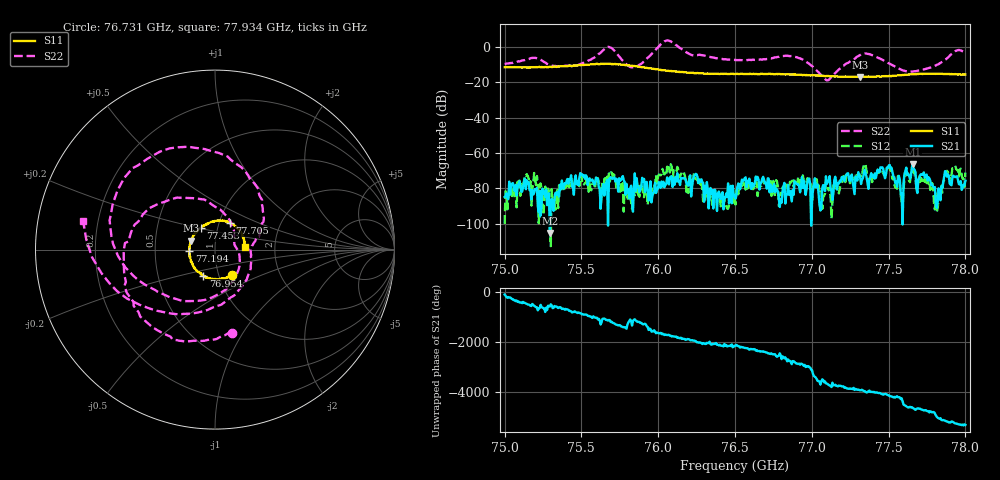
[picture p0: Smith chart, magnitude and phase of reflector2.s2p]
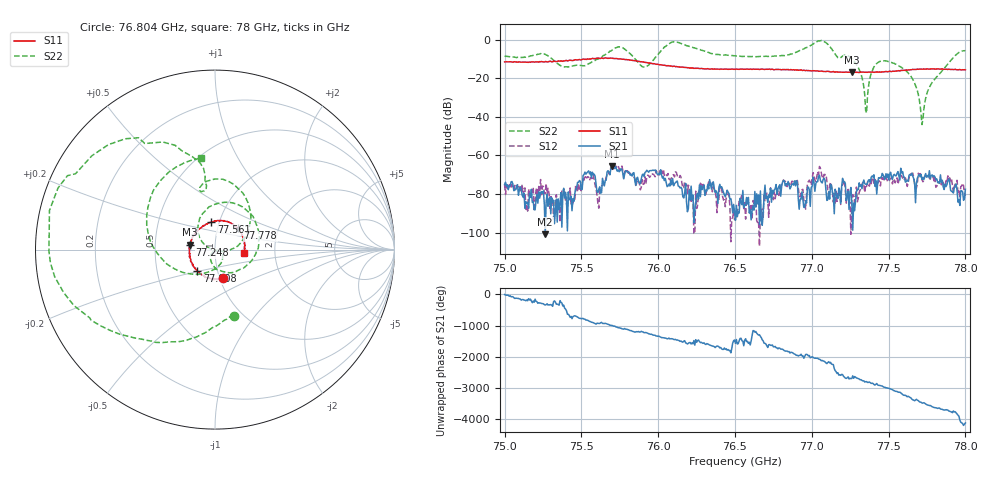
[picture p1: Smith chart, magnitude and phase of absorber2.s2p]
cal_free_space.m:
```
%%% TRM CALIBRTION USING 7 ERRORS TERMS %%%

%% clearvars %% 
clear all
close all

%% S-Parameters for measured calibration stems %%


 S_meas_refl = sparameters('reflector2.s2p');                             
 s11_meas_refl = rfparam(S_meas_refl,2,2);


 f=S_meas_refl.Frequencies;
 N=length(f);
  
 
 %% correct S data
S_dut = sparameters('absorber2.s2p');
S11_dut_meas = rfparam(S_dut,2,2); %S21_dut_meas = rfparam(S_dut,2,1)
S11_real=abs(S11_dut_meas)./abs(s11_meas_refl);


fghz=f./1e9;
 figure(1)
 plot(fghz,S11_real);%,fghz,20*log10(abs(S12_dut_true)))
 ylim([-1 1])
```
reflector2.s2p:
# Hz S MA R 50
! CMT, C4420, 21421029, 25.1.2/3
! Date: 8/4/2025 5:30:59 PM
! Data: Format (Calibration Info)
! Freq	S33:Mag/Ang(F2)	S43:Mag/Ang(F2)	S34:Mag/Ang(F2)	S44:Mag/Ang(F2)
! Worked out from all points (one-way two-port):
!   500 points, 75 GHz to 78 GHz, reference 50 ohm
!   highest |S21| = -66.24 dB at 77.657 GHz (marker M1); lowest = -105.2 dB at 75.295 GHz (marker M2)
!   lowest |S11| = -17.1 dB at 77.315 GHz (marker M3), VSWR 1.33, Z = 38.2 + j3.82 ohm
!   |S11| at or under -10 dB: start of sweep to 75.557 GHz; 75.73774 GHz to 75.74586 GHz (8.117 MHz wide, 0.0107 % of centre); 75.755 GHz to end of sweep
!   |S22| runs from -19.0 to 3.6 dB; largest |S21 - S12| = 0.00031
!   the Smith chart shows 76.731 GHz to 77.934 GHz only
!   S11 on the Smith chart (normalised r, x): 76.731 GHz: 1.15, -0.34; 76.954 GHz: 0.84, -0.25; 77.194 GHz: 0.75, -0.01; 77.453 GHz: 0.83, +0.21; 77.705 GHz: 1.13, +0.35; 77.934 GHz: 1.41, +0.05
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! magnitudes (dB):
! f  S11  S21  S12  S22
! 75 GHz  -11.6  -84.9  -100.0  -9.7
! 75.295 GHz  -11.2  -105.2  -92.8  -10.3
! 76.503 GHz  -15.4  -85.8  -89.1  -7.5
! 76.731 GHz  -15.4  -77.9  -75.0  -6.5
! 76.954 GHz  -16.0  -79.9  -78.8  -7.9
! 77.194 GHz  -16.9  -73.7  -76.4  -11.5
! 77.315 GHz  -17.1  -73.7  -72.2  -4.7
! 77.453 GHz  -16.8  -68.2  -68.8  -7.1
! 77.657 GHz  -15.5  -66.2  -70.0  -14.0
! 77.705 GHz  -15.3  -72.5  -76.3  -13.3
! 77.934 GHz  -15.4  -73.7  -67.1  -2.5
! 78 GHz  -15.7  -75.7  -71.0  -3.7
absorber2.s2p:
# Hz S MA R 50
! CMT, C4420, 21421029, 25.1.2/3
! Date: 8/4/2025 5:30:14 PM
! Data: Format (Calibration Info)
! Freq	S33:Mag/Ang(F2)	S43:Mag/Ang(F2)	S34:Mag/Ang(F2)	S44:Mag/Ang(F2)
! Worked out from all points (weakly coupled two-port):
!   500 points, 75 GHz to 78 GHz, reference 50 ohm
!   highest |S21| = -65.70 dB at 75.697 GHz (marker M1); lowest = -100.9 dB at 75.265 GHz (marker M2)
!   lowest |S11| = -17.0 dB at 77.261 GHz (marker M3), VSWR 1.33, Z = 37.8 + j2.07 ohm
!   |S11| at or under -10 dB: start of sweep to 75.563 GHz; 75.73883 GHz to 75.75066 GHz (11.83 MHz wide, 0.0156 % of centre); 75.752 GHz to end of sweep
!   |S22| runs from -44.1 to -0.5 dB; largest |S21 - S12| = 0.00028
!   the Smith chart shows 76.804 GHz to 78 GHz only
!   S11 on the Smith chart (normalised r, x): 76.804 GHz: 1.04, -0.34; 77.008 GHz: 0.80, -0.20; 77.248 GHz: 0.75, +0.04; 77.561 GHz: 0.92, +0.29; 77.778 GHz: 1.25, +0.31; 78 GHz: 1.39, -0.05
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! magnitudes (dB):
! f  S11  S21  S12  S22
! 75 GHz  -11.6  -75.0  -75.3  -8.6
! 75.265 GHz  -11.4  -100.9  -79.8  -7.7
! 75.697 GHz  -9.6  -65.7  -66.6  -5.7
! 76.503 GHz  -15.4  -93.6  -93.1  -8.5
! 76.804 GHz  -15.7  -76.1  -74.5  -8.3
! 77.008 GHz  -16.1  -71.3  -68.9  -2.3
! 77.248 GHz  -16.9  -78.9  -84.3  -9.1
! 77.261 GHz  -17.0  -84.2  -84.0  -9.9
! 77.561 GHz  -16.2  -68.4  -74.9  -13.4
! 77.778 GHz  -15.2  -70.5  -71.1  -22.9
! 78 GHz  -15.7  -77.5  -81.0  -5.8
